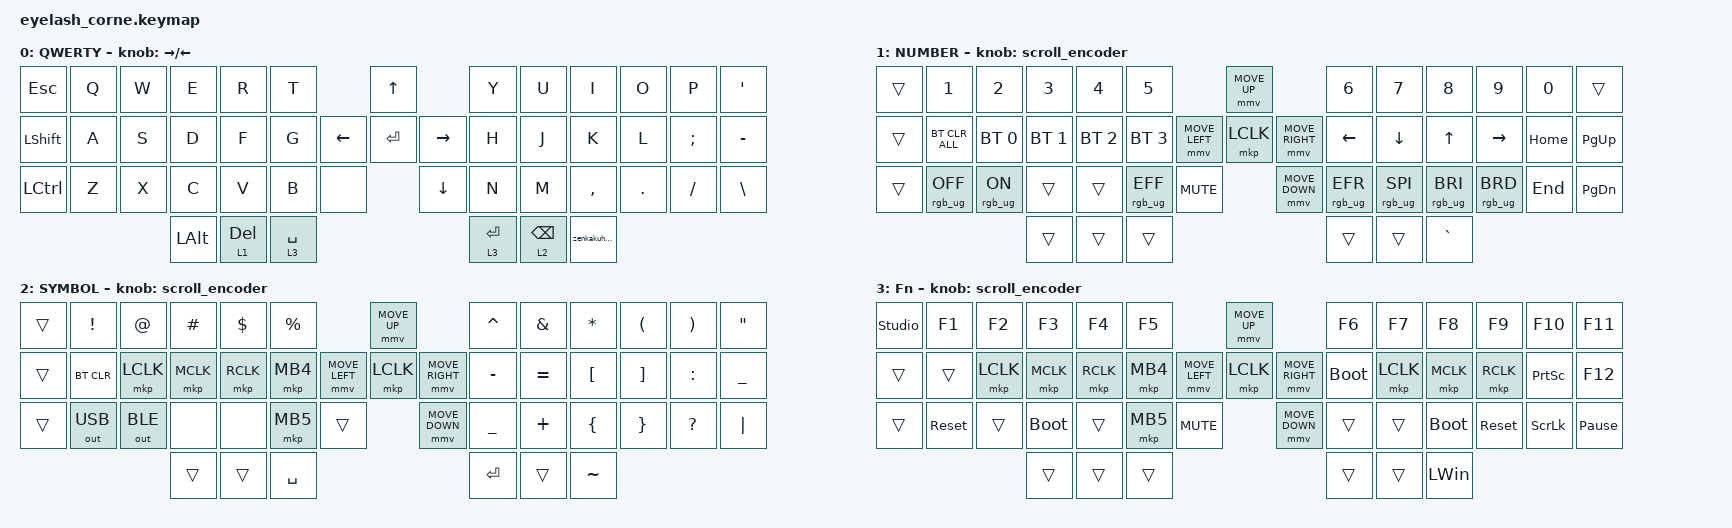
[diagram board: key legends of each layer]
#define ZMK_POINTING_DEFAULT_MOVE_VAL 1200  // 600
#define ZMK_POINTING_DEFAULT_SCRL_VAL 25   // 10

#include <input/processors.dtsi>
#include <zephyr/dt-bindings/input/input-event-codes.h>
#include <behaviors.dtsi>
#include <dt-bindings/zmk/bt.h>
#include <dt-bindings/zmk/keys.h>
#include <dt-bindings/zmk/outputs.h>
#include <dt-bindings/zmk/pointing.h>
#include <dt-bindings/zmk/rgb.h>

&mmv_input_listener { input-processors = <&zip_xy_scaler 2 1>; };

&msc_input_listener { input-processors = <&zip_scroll_scaler 2 1>; };

&msc {
    acceleration-exponent = <1>;      // 0
    time-to-max-speed-ms = <100>;       // 300
    delay-ms = <0>;                   // 0
};

&mmv {
    time-to-max-speed-ms = <500>;
    acceleration-exponent = <1>;
    trigger-period-ms = <16>;
};

&soft_off { hold-time-ms = <2000>; };

/ {
    behaviors {
        td0: td0 {
            compatible = "zmk,behavior-tap-dance";
            display-name = "Shift/Caps Lock Tap Dance";
            #binding-cells = <0>;
            bindings = <&kp LEFT_SHIFT>, <&kp CAPS>;
        };
    };

    rgb_encoder: rgb_encoder {
        compatible = "zmk,behavior-sensor-rotate";
        #sensor-binding-cells = <0>;
        bindings = <&rgb_ug RGB_BRI>, <&rgb_ug RGB_BRD>;
    };

    scroll_encoder: scroll_encoder {
        compatible = "zmk,behavior-sensor-rotate";
        #sensor-binding-cells = <0>;
        bindings = <&msc SCRL_DOWN>, <&msc SCRL_UP>;

        tap-ms = <100>;
    };

    combos {
        compatible = "zmk,combos";

        softoff {
            bindings = <&soft_off>;
            key-positions = <1 15 29>;
        };
    };

    macros {
        zenkakuhankaku: zenkakuhankaku {
            compatible = "zmk,behavior-macro";
            #binding-cells = <0>;
            bindings =
                <&macro_press>,
                <&kp LEFT_ALT>,
                <&macro_tap>,
                <&kp GRAVE>,
                <&macro_release>,
                <&kp LEFT_ALT>;

            label = "ZENKAKUHANKAKU";
        };
    };

    keymap {
        compatible = "zmk,keymap";

        default_layer {
            display-name = "QWERTY";
            bindings = <
&kp ESC           &kp Q  &kp W  &kp E         &kp R         &kp T                           &kp UP                &kp Y        &kp U            &kp I            &kp O    &kp P     &kp SQT
&kp LEFT_SHIFT    &kp A  &kp S  &kp D         &kp F         &kp G                 &kp LEFT  &kp ENTER  &kp RIGHT  &kp H        &kp J            &kp K            &kp L    &kp SEMI  &kp MINUS
&kp LEFT_CONTROL  &kp Z  &kp X  &kp C         &kp V         &kp B        &none              &kp DOWN              &kp N        &kp M            &kp COMMA        &kp DOT  &kp FSLH  &kp BSLH
                                &kp LEFT_ALT  &lt 1 DELETE  &lt 3 SPACE                                           &lt 3 ENTER  &lt 2 BACKSPACE  &zenkakuhankaku
            >;

            sensor-bindings = <&inc_dec_kp RIGHT_ARROW LEFT_ARROW>;
        };

        lower_layer {
            display-name = "NUMBER";
            bindings = <
&trans  &kp N1           &kp N2          &kp N3        &kp N4        &kp N5                                         &mmv MOVE_UP                     &kp N6           &kp N7           &kp N8           &kp N9           &kp N0    &trans
&trans  &bt BT_CLR_ALL   &bt BT_SEL 0    &bt BT_SEL 1  &bt BT_SEL 2  &bt BT_SEL 3                   &mmv MOVE_LEFT  &mkp LCLK       &mmv MOVE_RIGHT  &kp LEFT         &kp DOWN         &kp UP           &kp RIGHT        &kp HOME  &kp PG_UP
&trans  &rgb_ug RGB_OFF  &rgb_ug RGB_ON  &trans        &trans        &rgb_ug RGB_EFF  &kp C_MUTE                    &mmv MOVE_DOWN                   &rgb_ug RGB_EFR  &rgb_ug RGB_SPI  &rgb_ug RGB_BRI  &rgb_ug RGB_BRD  &kp END   &kp PG_DN
                                         &trans        &trans        &trans                                                                          &trans           &trans           &kp GRAVE
            >;

            sensor-bindings = <&scroll_encoder>;
        };

        raise_layer {
            display-name = "SYMBOL";
            bindings = <
&trans  &kp EXCL      &kp AT        &kp HASH   &kp DLLR   &kp PRCNT                            &mmv MOVE_UP                     &kp CARET  &kp AMPS   &kp ASTRK  &kp LPAR  &kp RPAR   &kp DQT
&trans  &bt BT_CLR    &mkp LCLK     &mkp MCLK  &mkp RCLK  &mkp MB4             &mmv MOVE_LEFT  &mkp LCLK       &mmv MOVE_RIGHT  &kp MINUS  &kp EQUAL  &kp LBKT   &kp RBKT  &kp COLON  &kp UNDER
&trans  &out OUT_USB  &out OUT_BLE  &none      &none      &mkp MB5   &trans                    &mmv MOVE_DOWN                   &kp UNDER  &kp PLUS   &kp LBRC   &kp RBRC  &kp QMARK  &kp PIPE
                                    &trans     &trans     &kp SPACE                                                             &kp RET    &trans     &kp TILDE
            >;

            sensor-bindings = <&scroll_encoder>;
        };

        layer_3 {
            display-name = "Fn";
            bindings = <
&studio_unlock  &kp F1      &kp F2     &kp F3       &kp F4     &kp F5                                  &mmv MOVE_UP                     &kp F6       &kp F7     &kp F8        &kp F9      &kp F10          &kp F11
&trans          &trans      &mkp LCLK  &mkp MCLK    &mkp RCLK  &mkp MB4                &mmv MOVE_LEFT  &mkp LCLK       &mmv MOVE_RIGHT  &bootloader  &mkp LCLK  &mkp MCLK     &mkp RCLK   &kp PRINTSCREEN  &kp F12
&trans          &sys_reset  &trans     &bootloader  &trans     &mkp MB5  &kp C_MUTE                    &mmv MOVE_DOWN                   &trans       &trans     &bootloader   &sys_reset  &kp SCROLLLOCK   &kp PAUSE_BREAK
                                       &trans       &trans     &trans                                                                   &trans       &trans     &kp LEFT_WIN
            >;

            sensor-bindings = <&scroll_encoder>;
        };
    };
};
